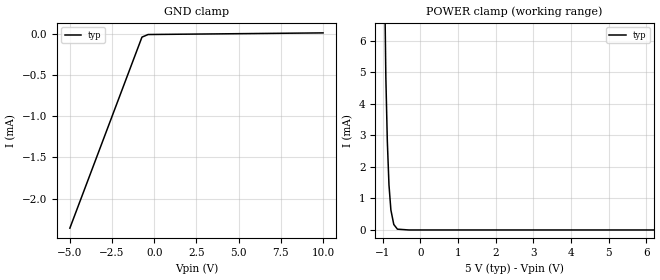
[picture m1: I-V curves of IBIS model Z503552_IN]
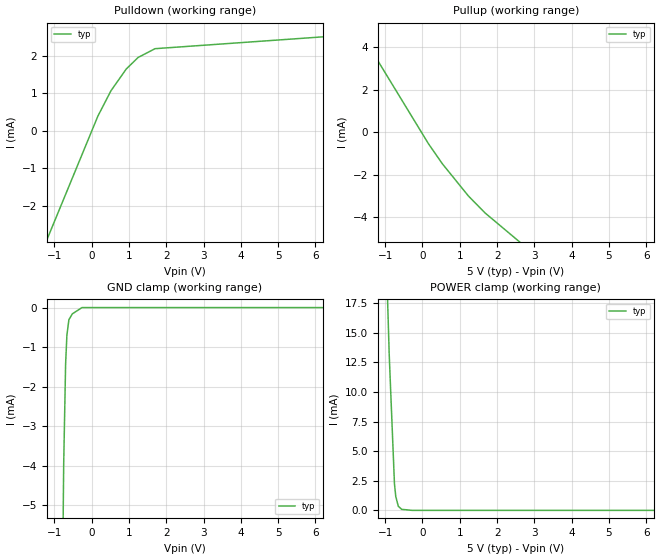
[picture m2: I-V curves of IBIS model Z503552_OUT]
| YOU ARE ONLY AUTHORIZED TO USE THIS SOFTWARE
| ACCORDING TO LICENSOR'S LICENSE RESTRICTIONS.
[IBIS Ver] 3.1
[File Name] mc14070bcl.ibs
[File Rev] 2.0
[Source] Measured and created by ICX Technology
[Date] Friday 7/14/00 9:07:53 AM
[Copyright]
| (C) COPYRIGHT 1993-2000
| MENTOR GRAPHICS CORPORATION
| ICX STANDARD LIBRARY, ICX PROJECT MODELING,
| ICX CUSTOM MODELING, ICX VENDOR MODEL
| ALL RIGHTS RESERVED.
| THE FOLLOWING ARE TRADEMARKS OR SERVICE MARKS OF
| MENTOR GRAPHICS CORPORATION:ICX (R), ICX STANDARD
| LIBRARY(R), ICX PROJECT MODELING(R), ICX CUSTOM
| MODELING(R), qualityIBIS(TM), MODELVIEWER(TM),
| AND MODELEDITOR(TM)
| ALL COPIES OF SOFTWARE, INCLUDING BUT NOT LIMITED TO
| ANY MODIFICATIONS, ENHANCEMENTS OR DERIVATIVE WORKS,
| MUST CONTAIN ALL MENTOR GRAPHICS CORPORATION'S
| NOTICES AND LEGENDS, INCLUDING THOSE EMBEDDED IN
| SOFTWARE AND THOSE AFFIXED TO SOFTWARE MEDIUM
| AND CONTAINER, AS RECEIVED FROM MENTOR GRAPHICS
| CORPORATION.
|  ZAP Model Builder 2.7
[Component] MC14070BCL
[Manufacturer] OnSemiconductor
[Package]
| variable   typ   min   max
R_pkg  .21ohms NA NA
L_pkg  4.543nH NA NA
C_pkg  1.8pF NA NA
[Pin] signal_name  model_name  R_pin  L_pin C_pin
1 IN1A Z503552_IN .22 6.757n 2.434p
2 IN2A Z503552_IN .212 4.757n 1.941p
3 OUTA Z503552_OUT .204 3.257n 1.448p
4 OUTB Z503552_OUT .196 2.257n .955p
5 IN1B Z503552_IN .204 3.257n 1.448p
6 IN2B Z503552_IN .212 4.757n 1.941p
7 VSS POWER .22 6.757n 2.434p
8 IN1C Z503552_IN .22 6.757n 2.434p
9 IN2C Z503552_IN .212 4.757n 1.941p
10 OUTC Z503552_OUT .204 3.257n 1.448p
11 OUTD Z503552_OUT .196 2.257n .955p
12 IN1D Z503552_IN .204 3.257n 1.448p
13 IN2D Z503552_IN .212 4.757n 1.941p
14 VDD POWER .22 6.757n 2.434p
| Models and submodels in the file (2): Z503552_IN (Input), Z503552_OUT (Output)
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| (C) COPYRIGHT 1993-2000
| MENTOR GRAPHICS CORPORATION
| ICX STANDARD LIBRARY, ICX PROJECT MODELING,
| ICX CUSTOM MODELING, ICX VENDOR MODEL
| ALL RIGHTS RESERVED.
| THE FOLLOWING ARE TRADEMARKS OR SERVICE MARKS OF
| MENTOR GRAPHICS CORPORATION:ICX (R), ICX STANDARD
| LIBRARY(R), ICX PROJECT MODELING(R), ICX CUSTOM
| MODELING(R), qualityIBIS(TM), MODELVIEWER(TM),
| AND MODELEDITOR(TM)
| ALL COPIES OF SOFTWARE, INCLUDING BUT NOT LIMITED TO
| ANY MODIFICATIONS, ENHANCEMENTS OR DERIVATIVE WORKS,
| MUST CONTAIN ALL MENTOR GRAPHICS CORPORATION'S
| NOTICES AND LEGENDS, INCLUDING THOSE EMBEDDED IN
| SOFTWARE AND THOSE AFFIXED TO SOFTWARE MEDIUM
| AND CONTAINER, AS RECEIVED FROM MENTOR GRAPHICS
| CORPORATION.
| Model Application Version 1.89 2/18/99.
[Model] Z503552_IN
Model_type Input
Vinl = 1.500V
Vinh = 3.500V
C_comp 4.000pF NA NA
| variable typ   min   max
[Voltage Range] 5.000V NA NA
[GND Clamp Reference] 0.000V NA NA
[POWER Clamp Reference] 5.000V NA NA
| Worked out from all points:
|   POWER clamp passes 1 mA (typ) near -0.81 V on its own axis
[GND Clamp]
-5V       -2.359mA   NA         NA
-729.1mV  -40.86uA   NA         NA
-364.5mV  -9.134uA   NA         NA
10V       10.57uA    NA         NA
[POWER Clamp]
-5V       574.8mA    NA         NA
-1.011V   13.59mA    NA         NA
-918mV    4.85mA     NA         NA
-879mV    2.828mA    NA         NA
-835mV    1.432mA    NA         NA
-784mV    634uA      NA         NA
-707mV    174.4uA    NA         NA
-610mV    25.27uA    NA         NA
-305mV    0A         NA         NA
10V       0A         NA         NA
| (C) COPYRIGHT 1993-2000
| MENTOR GRAPHICS CORPORATION
| ICX STANDARD LIBRARY, ICX PROJECT MODELING,
| ICX CUSTOM MODELING, ICX VENDOR MODEL
| ALL RIGHTS RESERVED.
| THE FOLLOWING ARE TRADEMARKS OR SERVICE MARKS OF
| MENTOR GRAPHICS CORPORATION:ICX (R), ICX STANDARD
| LIBRARY(R), ICX PROJECT MODELING(R), ICX CUSTOM
| MODELING(R), qualityIBIS(TM), MODELVIEWER(TM),
| AND MODELEDITOR(TM)
| ALL COPIES OF SOFTWARE, INCLUDING BUT NOT LIMITED TO
| ANY MODIFICATIONS, ENHANCEMENTS OR DERIVATIVE WORKS,
| MUST CONTAIN ALL MENTOR GRAPHICS CORPORATION'S
| NOTICES AND LEGENDS, INCLUDING THOSE EMBEDDED IN
| SOFTWARE AND THOSE AFFIXED TO SOFTWARE MEDIUM
| AND CONTAINER, AS RECEIVED FROM MENTOR GRAPHICS
| CORPORATION.
| Model Application Version 1.89 2/18/99.
[Model] Z503552_OUT
Model_type Output
Vref=0.000V
Rref=500.0Mohms
Cref=50.00pF
Vmeas=2.500V
C_comp 8.000pF NA NA
| variable typ   min   max
[Voltage Range] 5.000V NA NA
[POWER Clamp Reference] 5.000V NA NA
[Pullup Reference] 5.000V NA NA
[Pulldown Reference] 0.000V NA NA
[GND Clamp Reference] 0.000V NA NA
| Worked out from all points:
|   slope of the pulldown table from 0 to 0.75 V, typ, clamps not added: 533 ohm
|   slope of the pullup table from 0 to 0.75 V, typ, clamps not added: 399 ohm
|   GND clamp passes 1 mA (typ) near -0.68 V on its own axis
|   POWER clamp passes 1 mA (typ) near -0.70 V on its own axis
[GND Clamp]
-5V       -406.7mA   NA         NA
-749.7mV  -3.944mA   NA         NA
-698.2mV  -1.422mA   NA         NA
-663.9mV  -696.8uA   NA         NA
-609.9mV  -306.1uA   NA         NA
-517.3mV  -158.4uA   NA         NA
-258.7mV  0A         NA         NA
10V       0A         NA         NA
[Pulldown]
-5V       -12.07mA   NA         NA
166mV     387.4uA    NA         NA
516.3mV   1.063mA    NA         NA
927.7mV   1.645mA    NA         NA
1.245V    1.952mA    NA         NA
1.699V    2.186mA    NA         NA
10V       2.768mA    NA         NA
[Pullup]
-5V       14.32mA    NA         NA
161mV     -551.3uA   NA         NA
532mV     -1.491mA   NA         NA
1.231V    -3.01mA    NA         NA
1.682V    -3.816mA   NA         NA
10V       -16.07mA   NA         NA
[POWER Clamp]
-5V       447.8mA    NA         NA
-892mV    13.18mA    NA         NA
-751mV    2.233mA    NA         NA
-716mV    1.182mA    NA         NA
-649mV    348.9uA    NA         NA
-557mV    85.92uA    NA         NA
-278.5mV  0A         NA         NA
10V       0A         NA         NA
[Ramp]
| variable typ min max
dV/dt_r 2.609/21.79n NA NA
dV/dt_f 2.609/15.53n NA NA
R_load = 2.500kOhms
